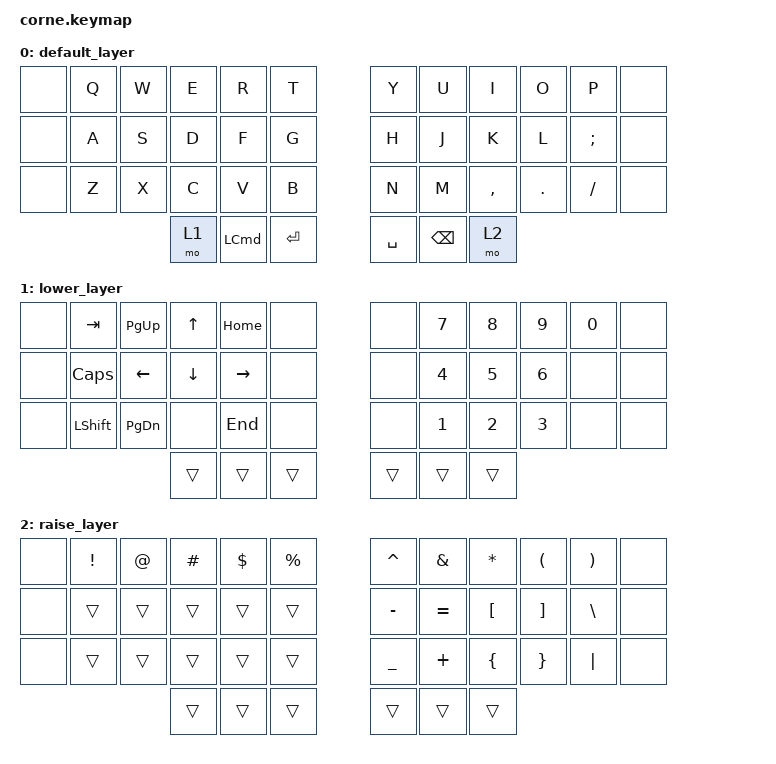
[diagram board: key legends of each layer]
/*
 * Copyright (c) 2020 The ZMK Contributors
 *
 * SPDX-License-Identifier: MIT
 */

#include <behaviors.dtsi>
#include <dt-bindings/zmk/keys.h>

/ {
    keymap {
        compatible = "zmk,keymap";

        default_layer {
            // -----------------------------------------------------------------------------------------
            // |  TAB |  Q  |  W  |  E  |  R  |  T  |   |  Y  |  U   |  I  |  O  |  P  | BSPC |
            // | CTRL |  A  |  S  |  D  |  F  |  G  |   |  H  |  J   |  K  |  L  |  ;  |  '   |
            // | SHFT |  Z  |  X  |  C  |  V  |  B  |   |  N  |  M   |  ,  |  .  |  /  | ESC  |
            //                    | GUI | LWR | SPC |   | ENT | RSE  | ALT |

            bindings = <
&none  &kp Q  &kp W  &kp E  &kp R     &kp T        &kp Y      &kp U          &kp I      &kp O    &kp P     &none
&none  &kp A  &kp S  &kp D  &kp F     &kp G        &kp H      &kp J          &kp K      &kp L    &kp SEMI  &none
&none  &kp Z  &kp X  &kp C  &kp V     &kp B        &kp N      &kp M          &kp COMMA  &kp DOT  &kp FSLH  &none
                     &mo 1  &kp LCMD  &kp ENTER    &kp SPACE  &kp BACKSPACE  &mo 2
            >;
        };

        lower_layer {
            // -----------------------------------------------------------------------------------------
            // |  TAB |  1  |  2  |  3  |  4  |  5  |   |  6  |  7  |  8  |  9  |  0  | BSPC |
            // | BTCLR| BT1 | BT2 | BT3 | BT4 | BT5 |   | LFT | DWN |  UP | RGT |     |      |
            // | SHFT |     |     |     |     |     |   |     |     |     |     |     |      |
            //                    | GUI |     | SPC |   | ENT |     | ALT |

            bindings = <
&none  &kp TAB         &kp PG_UP  &kp UP    &kp HOME   &none     &none   &kp N7        &kp N8        &kp N9        &kp N0  &none
&none  &kp CAPS        &kp LEFT   &kp DOWN  &kp RIGHT  &none     &none   &kp NUMBER_4  &kp N5        &kp NUMBER_6  &none   &none
&none  &kp LEFT_SHIFT  &kp PG_DN  &none     &kp END    &none     &none   &kp NUMBER_1  &kp NUMBER_2  &kp NUMBER_3  &none   &none
                                  &trans    &trans     &trans    &trans  &trans        &trans
            >;
        };

        raise_layer {
            // -----------------------------------------------------------------------------------------
            // |  TAB |  !  |  @  |  #  |  $  |  %  |   |  ^  |  &  |  *  |  (  |  )  | BSPC |
            // | CTRL |     |     |     |     |     |   |  -  |  =  |  [  |  ]  |  \  |  `   |
            // | SHFT |     |     |     |     |     |   |  _  |  +  |  {  |  }  | "|" |  ~   |
            //                    | GUI |     | SPC |   | ENT |     | ALT |

            bindings = <
&none  &kp EXCL  &kp AT  &kp HASH  &kp DLLR  &kp PRCNT    &kp CARET  &kp AMPS   &kp ASTRK  &kp LPAR  &kp RPAR  &none
&none  &trans    &trans  &trans    &trans    &trans       &kp MINUS  &kp EQUAL  &kp LBKT   &kp RBKT  &kp BSLH  &none
&none  &trans    &trans  &trans    &trans    &trans       &kp UNDER  &kp PLUS   &kp LBRC   &kp RBRC  &kp PIPE  &none
                         &trans    &trans    &trans       &trans     &trans     &trans
            >;
        };
    };
};
